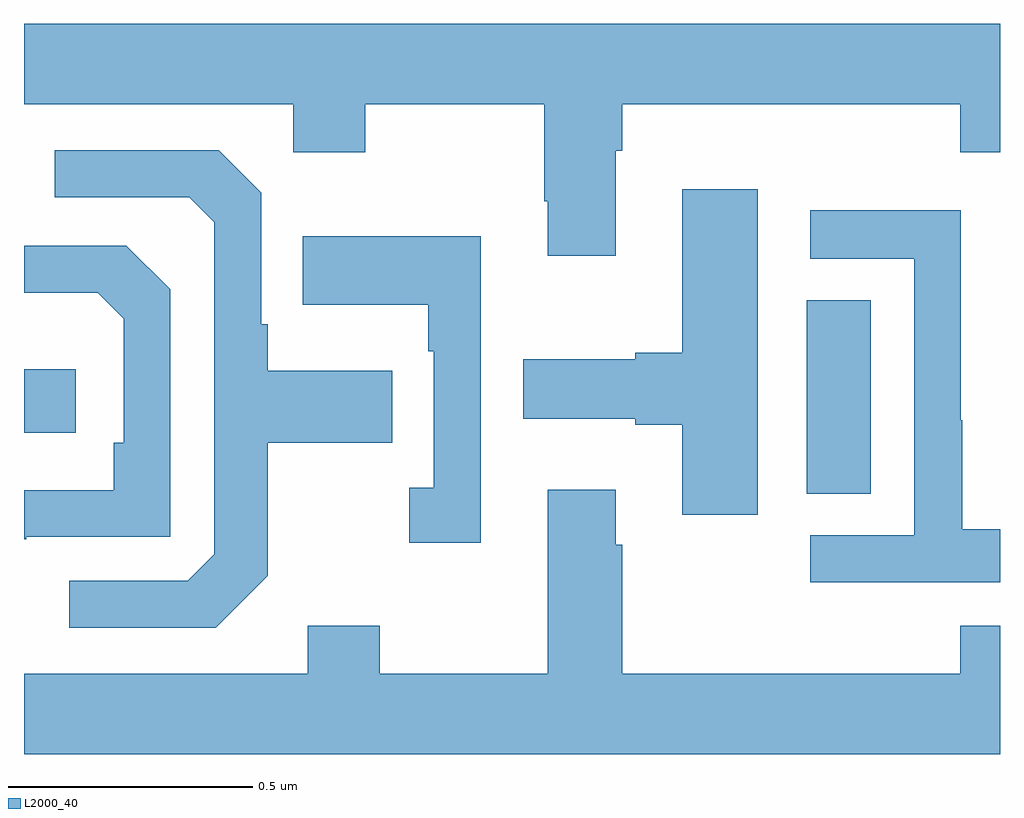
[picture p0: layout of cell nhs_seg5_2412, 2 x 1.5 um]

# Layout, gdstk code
import gdstk
lib = gdstk.Library(unit=1e-6, precision=1e-09)
def R(c, l, rs):  # rectangles x0, y0, x1, y1
    for r in rs: c.add(gdstk.rectangle(r[:2], r[2:], *l))
def P(c, l, *ps):  # polygons
    for p in ps: c.add(gdstk.Polygon(p, *l))
L2000_40 = (2000, 40)

nhs_seg5_2412 = lib.new_cell('nhs_seg5_2412')
R(nhs_seg5_2412, L2000_40, [(145.604,834.649,145.735,835.046), (144,834.774,144.106,834.904)])
P(nhs_seg5_2412, L2000_40, [(145.213,835.352),(145.226,835.352),(145.226,835.448),(145.919,835.448),(145.919,835.349),(146,835.349),(146,835.612),(144,835.612),(144,835.448),(144.552,835.448),(144.552,835.349),(144.699,835.349),(144.699,835.448),(145.066,835.448),(145.066,835.249),(145.073,835.249),(145.073,835.137),(145.213,835.137)],
  [(144.499,834.481),(144.499,834.754),(144.755,834.754),(144.755,834.901),(144.499,834.901),(144.499,834.997),(144.486,834.997),(144.486,835.266),(144.399,835.353),(144.063,835.353),(144.063,835.257),(144.339,835.257),(144.39,835.206),(144.39,834.525),(144.336,834.471),(144.093,834.471),(144.093,834.375),(144.393,834.375)],
  [(145.504,835.273),(145.349,835.273),(145.349,834.938),(145.253,834.938),(145.253,834.925),(145.023,834.925),(145.023,834.803),(145.253,834.803),(145.253,834.791),(145.349,834.791),(145.349,834.606),(145.504,834.606)],
  [(146,834.577),(145.923,834.577),(145.923,834.8),(145.92,834.8),(145.92,835.23),(145.611,835.23),(145.611,835.131),(145.824,835.131),(145.824,834.564),(145.611,834.564),(145.611,834.468),(146,834.468)],
  [(144.936,835.177),(144.571,835.177),(144.571,835.037),(144.828,835.037),(144.828,834.941),(144.84,834.941),(144.84,834.662),(144.789,834.662),(144.789,834.549),(144.936,834.549)],
  [(144.005,834.561),(144.3,834.561),(144.3,835.068),(144.21,835.158),(144,835.158),(144,835.061),(144.151,835.061),(144.204,835.008),(144.204,834.754),(144.184,834.754),(144.184,834.657),(144,834.657),(144,834.556),(144.005,834.556)],
  [(146,834.379),(145.919,834.379),(145.919,834.28),(145.226,834.28),(145.226,834.545),(145.213,834.545),(145.213,834.658),(145.073,834.658),(145.073,834.28),(144.729,834.28),(144.729,834.379),(144.581,834.379),(144.581,834.28),(144,834.28),(144,834.116),(146,834.116)])

lib.write_gds('nhs_seg5_2412.gds')
